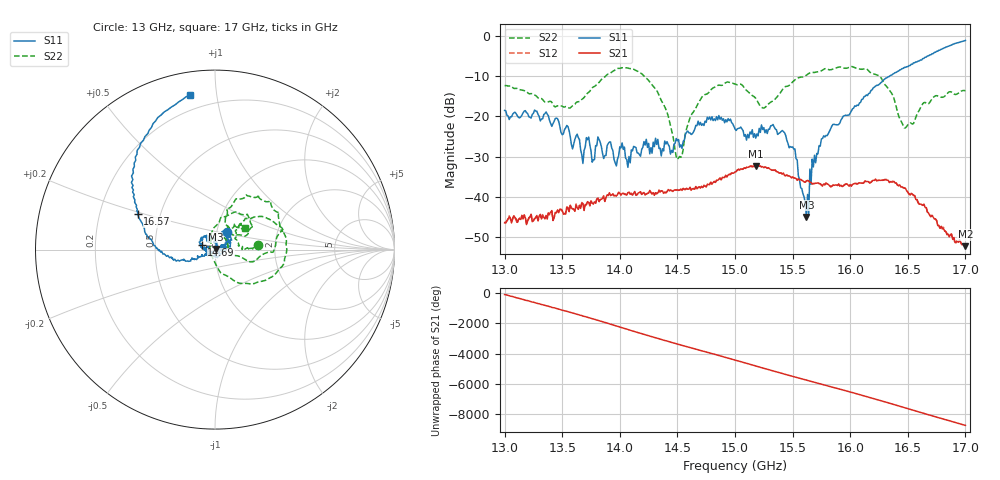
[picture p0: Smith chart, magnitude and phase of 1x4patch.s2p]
!Keysight Technologies,P9374A,MY57211807,A.19.30.04
!Date: Friday, May 08, 2026 13:59:34
!Correction: S11(C  2-Port  )
!S21(C  2-Port  )
!S12(C  2-Port  )
!S22(C  2-Port  )
!S2P File: Measurements: S11, S21, S12, S22:
# Hz S  dB  R 50
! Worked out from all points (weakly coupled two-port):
!   401 points, 13 GHz to 17 GHz, reference 50 ohm
!   highest |S21| = -32.26 dB at 15.18 GHz (marker M1); lowest = -52.2 dB at 17 GHz (marker M2)
!   lowest |S11| = -44.9 dB at 15.62 GHz (marker M3), VSWR 1.01, Z = 50.4 + j0.375 ohm
!   |S11| at or under -10 dB: start of sweep to 16.34 GHz
!   |S22| runs from -30.6 to -7.6 dB; largest |S21 - S12| = 0.00089
!   S11 on the Smith chart (normalised r, x): 13 GHz: 1.13, +0.22; 14.69 GHz: 0.86, +0.04; 16.57 GHz: 0.37, +0.19; 17 GHz: 0.12, +0.84
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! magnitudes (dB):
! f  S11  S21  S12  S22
! 13 GHz  -18.5  -46.3  -46.2  -12.4
! 13.36 GHz  -18.9  -44.5  -44.7  -16.5
! 13.67 GHz  -29.5  -41.5  -41.3  -15.8
! 13.91 GHz  -26.3  -39.0  -38.9  -9.4
! 13.97 GHz  -32.3  -39.7  -39.7  -8.3
! 14.01 GHz  -27.8  -39.5  -39.3  -8.0
! 14.07 GHz  -32.6  -38.9  -39.0  -8.0
! 14.34 GHz  -27.9  -38.4  -38.2  -14.7
! 14.51 GHz  -25.7  -38.3  -38.3  -30.3
! 14.69 GHz  -22.1  -37.4  -37.5  -16.3
! 15 GHz  -23.1  -33.7  -33.8  -12.0
! 15.18 GHz  -25.4  -32.3  -32.3  -15.5
! 15.42 GHz  -23.8  -34.0  -34.1  -13.0
! 15.52 GHz  -28.0  -35.3  -35.3  -10.9
! 15.62 GHz  -44.9  -36.0  -36.0  -9.8
! 15.67 GHz  -30.6  -36.7  -36.7  -9.1
! 15.84 GHz  -22.4  -37.3  -37.3  -8.4
! 16.14 GHz  -14.7  -36.1  -36.2  -8.2
! 16.34 GHz  -10.1  -36.4  -36.4  -13.5
! 16.46 GHz  -8.1  -37.6  -37.7  -22.3
! 16.57 GHz  -6.5  -40.6  -40.6  -20.2
! 17 GHz  -1.2  -52.2  -52.1  -13.7
